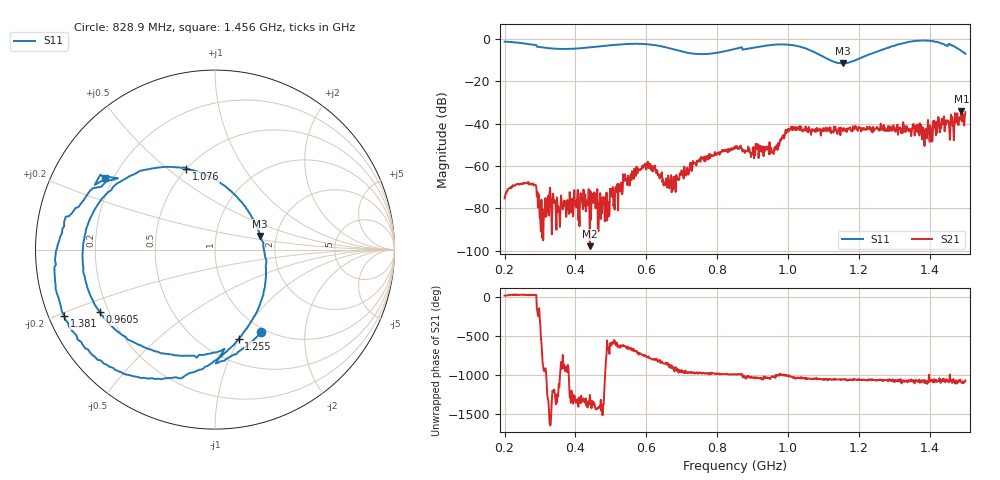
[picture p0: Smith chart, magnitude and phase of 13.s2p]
! NanoVNA-App
! Date: 2024-06-25 16:50:18
! Start: 200MHz Stop: 1.5GHz Points: 801
! S-Parameter data: F S11 S21 S12 S22
# Hz S RI R 50
!  Frequency  S11_Real  S11_Imag  S21_Real  S21_Imag  S12_Real  S12_Imag  S22_Real  S22_Imag
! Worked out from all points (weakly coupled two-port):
!   801 points, 200 MHz to 1.5 GHz, reference 50 ohm
!   highest |S21| = -34.02 dB at 1.489 GHz (marker M1); lowest = -97.9 dB at 440.5 MHz (marker M2)
!   lowest |S11| = -11.6 dB at 1.155 GHz (marker M3), VSWR 1.72, Z = 82.4 + j13.5 ohm
!   |S11| at or under -10 dB: 1.118 GHz to 1.191 GHz (72.57 MHz wide, 6.29 % of centre)
!   S12 and S22 are empty: the file has one direction only
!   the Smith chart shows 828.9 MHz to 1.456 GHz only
!   S11 on the Smith chart (normalised r, x): 828.9 MHz: 0.94, -1.21; 960.5 MHz: 0.17, -0.25; 1.076 GHz: 0.50, +0.58; 1.255 GHz: 0.74, -0.99; 1.381 GHz: 0.04, -0.21; 1.456 GHz: 0.17, +0.29
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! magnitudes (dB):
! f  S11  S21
! 200 MHz  -1.3  -75.3
! 260.1 MHz  -2.3  -68.3
! 305.6 MHz  -4.0  -94.0
! 417.8 MHz  -4.3  -75.5
! 440.5 MHz  -4.0  -97.9
! 489.2 MHz  -3.2  -85.8
! 598.1 MHz  -2.5  -60.3
! 633.9 MHz  -3.2  -64.5
! 677.8 MHz  -5.0  -65.3
! 828.9 MHz  -5.5  -53.6
! 850 MHz  -4.7  -50.7
! 960.5 MHz  -2.7  -52.1
! 1.003 GHz  -2.8  -42.5
! 1.068 GHz  -5.8  -42.6
! 1.076 GHz  -6.4  -43.9
! 1.155 GHz  -11.6  -43.2
! 1.255 GHz  -5.8  -43.1
! 1.284 GHz  -4.0  -43.5
! 1.381 GHz  -0.7  -44.8
! 1.456 GHz  -2.7  -47.7
! 1.489 GHz  -5.6  -34.0
! 1.5 GHz  -7.0  -34.6
